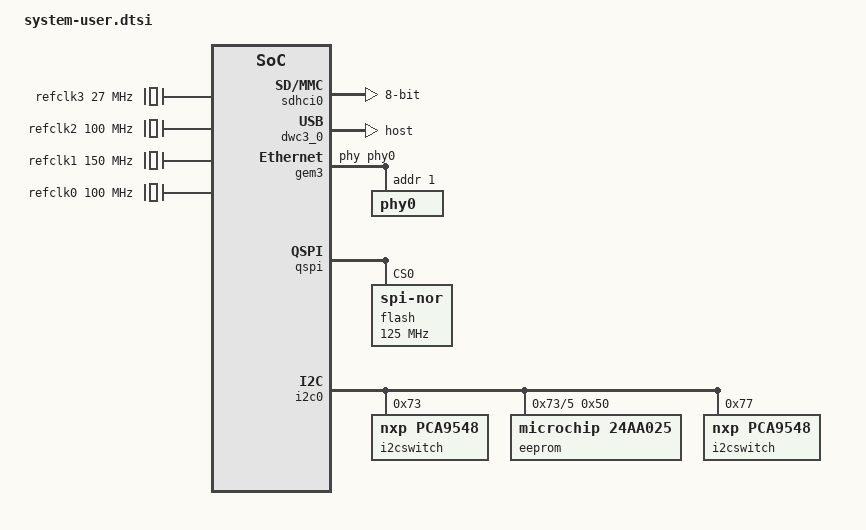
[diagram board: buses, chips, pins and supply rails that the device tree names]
/include/ "system-conf.dtsi"
 
 
/*------------------ gtr --------------------*/
 
//https://xilinx-wiki.atlassian.net/wiki/spaces/A/pages/18841716/Zynq+Ultrascale+MPSOC+Linux+SIOU+driver
 
/ {
  refclk3:psgtr_dp_clock {
          compatible = "fixed-clock";
          #clock-cells = <0x00>;
          clock-frequency = <27000000>;
  };
 
  refclk2:psgtr_pcie_usb_clock {
          compatible = "fixed-clock";
          #clock-cells = <0x00>;
          clock-frequency = <100000000>;
  };
 
  refclk1:psgtr_sata_clock {
          compatible = "fixed-clock";
          #clock-cells = <0x00>;
          clock-frequency = <150000000>;
  };
 
  refclk0:psgtr_unused_clock {
          compatible = "fixed-clock";
          #clock-cells = <0x00>;
          clock-frequency = <100000000>;
  };
};
 
&psgtr {
  clocks = <&refclk0 &refclk1 &refclk2 &refclk3>;
  //clocks = <&refclk0 &refclk2 &refclk3>;
  /* ref clk instances used per lane */
  clock-names = "ref0\0ref1\0ref2\0ref3";
};
 
 
 
/*-------------------- SD0 eMMC ----------------*/
&sdhci0 {
    // bus-width
    bus-width = <8>;
};
 
/*-------------------- SD1 SD2.0 ----------------*/
&sdhci1 {
    // disable-wp;
    no-1-8-v;
};
 
 
/*------------------- USB --------------------*/
&dwc3_0 {
    //status = "okay";
    dr_mode = "host";
    //snps,usb3_lpm_capable;
    //snps,dis_u3_susphy_quirk;
    //snps,dis_u2_susphy_quirk;
    //phy-names = "usb2-phy","usb3-phy";
    //maximum-speed = "super-speed";
};
 
 
/*------------------ ETH PHY --------------------*/
&gem3 {
    /delete-property/ local-mac-address;
    phy-handle = <&phy0>;
 
    nvmem-cells = <&eth0_addr>;
    nvmem-cell-names = "mac-address";
 
    phy0: phy0@1 {
        device_type = "ethernet-phy";
        reg = <1>;
    };
};
 
 
/*----------------- SATA PHY --------------------*/
&sata {
 
     ceva,p0-burst-params = <0x13084a06>;
     ceva,p0-cominit-params = <0x18401828>;
     ceva,p0-comwake-params = <0x614080e>;
     ceva,p0-retry-params = <0x96a43ffc>;
     ceva,p1-burst-params = <0x13084a06>;
     ceva,p1-cominit-params = <0x18401828>;
     ceva,p1-comwake-params = <0x614080e>;
     ceva,p1-retry-params = <0x96a43ffc>;
 
};
 
 
/*-------------------- QSPI ---------------------*/
&qspi {
    num-cs = <2>;
 
    flash@0 {
        compatible = "jedec,spi-nor";
        reg = <0>, <1>;
        parallel-memories = /bits/ 64 <0x1000000 0x1000000>; /* 2* 16MB --> dummy for all types of this QSPI type */
 
        spi-rx-bus-width = <4>;
        spi-tx-bus-width = <4>;
        // for variants populated with mt25quXXX
        spi-max-frequency = <125000000>; // max. frequency also depends on the QSPI chip
                                         // here 125MHz for MT25QU512/02 (Fast Read Quad IO STR, 10 Dummy Cycles)
         
        #address-cells = <1>;
        #size-cells = <1>;       
    };
};
 
 
/*------------------ I2C --------------------*/
&i2c0 {
    i2cswitch@73 { // u
        compatible = "nxp,pca9548";
        #address-cells = <1>;
        #size-cells = <0>;
        reg = <0x73>;
        i2c-mux-idle-disconnect;
        i2c@0 { // MCLK TEBF0818 SI5338A, 570FBB000290DG_unassembled
            reg = <0>;
        };
        i2c@1 { // SFP TEBF0818 PCF8574DWR
            reg = <1>;
        };
        i2c@2 { // PCIe
            reg = <2>;
        };
        i2c@3 { // SFP1 TEBF0818
            reg = <3>;
        };
        i2c@4 {// SFP2 TEBF0818
            reg = <4>;
        };
        i2c@5 { // TEBF0818 EEPROM
            reg = <5>;
            eeprom: eeprom@50 {
                compatible = "microchip,24aa025", "atmel,24c02";
                reg = <0x50>;
                 
                #address-cells = <1>;
                #size-cells = <1>;
                eth0_addr: eth-mac-addr@FA {
                  reg = <0xFA 0x06>;
                };
            };
        };
        i2c@6 { // TEBF0818 FMC
            reg = <6>;
        };
        i2c@7 { // TEBF0818 USB HUB
            reg = <7>;
        };
    };
    i2cswitch@77 { // u
        compatible = "nxp,pca9548";
        reg = <0x77>;
        i2c-mux-idle-disconnect;
        i2c@0 { // TEBF0818 PMOD P1
            reg = <0>;
        };
        i2c@1 { // i2c Audio Codec
            reg = <1>;
            /*
            adau1761: adau1761@38 {
                compatible = "adi,adau1761";
                reg = <0x38>;
            };
            */
        };
        i2c@2 { // TEBF0818 Firefly A
            reg = <2>;
        };
        i2c@3 { // TEBF0818 Firefly B
            reg = <3>;
        };
        i2c@4 { //Module PLL Si5338 or SI5345
            reg = <4>;
        };
        i2c@5 { //TEBF0818 CPLD
            reg = <5>;
        };
        i2c@6 { //TEBF0818 Firefly PCF8574DWR
            reg = <6>;
        };
        i2c@7 { // TEBF0818 PMOD P3
            reg = <7>;
        };
    };
};
